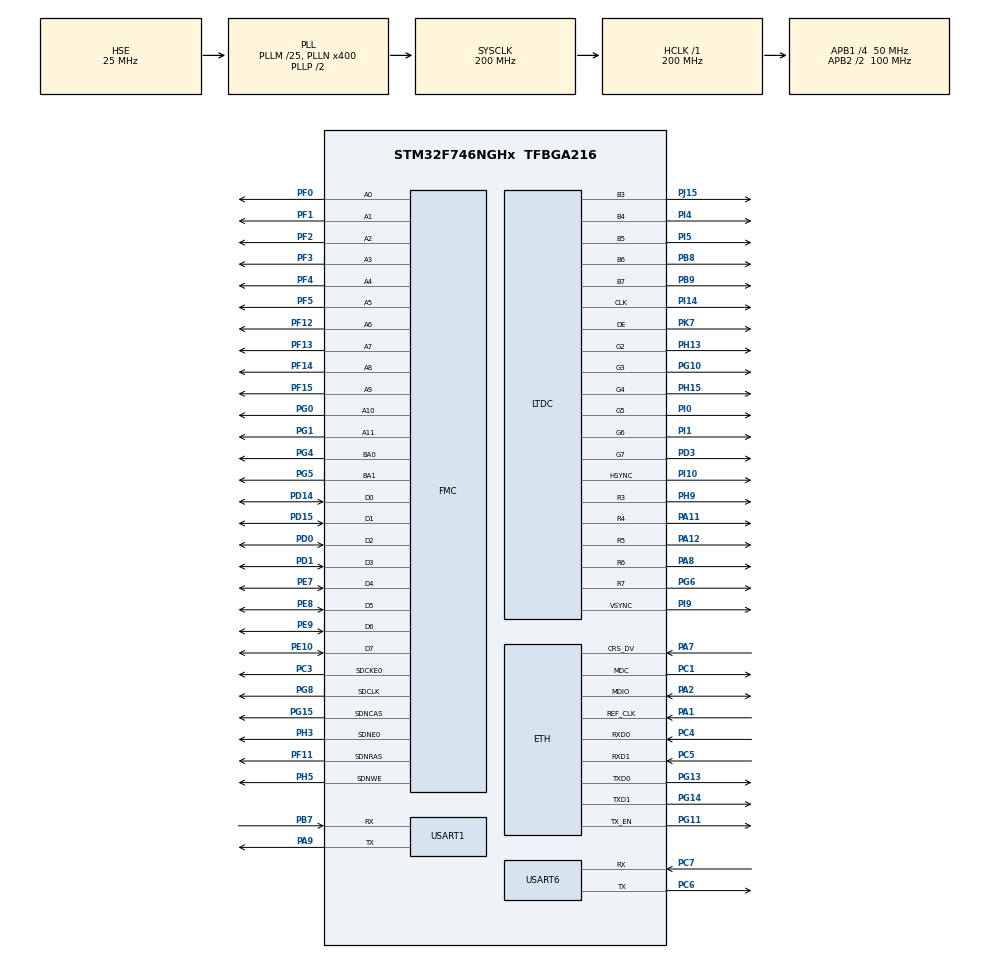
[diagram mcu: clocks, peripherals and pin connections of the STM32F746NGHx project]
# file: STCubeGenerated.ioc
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CORTEX_M7.AccessPermission-Cortex_Memory_Protection_Unit_Region0_Settings=MPU_REGION_FULL_ACCESS
CORTEX_M7.AccessPermission-Cortex_Memory_Protection_Unit_Region1_Settings=MPU_REGION_FULL_ACCESS
CORTEX_M7.AccessPermission-Cortex_Memory_Protection_Unit_Region2_Settings=MPU_REGION_FULL_ACCESS
CORTEX_M7.BaseAddress-Cortex_Memory_Protection_Unit_Region0_Settings=0x20000000
CORTEX_M7.BaseAddress-Cortex_Memory_Protection_Unit_Region1_Settings=0x2004C000
CORTEX_M7.BaseAddress-Cortex_Memory_Protection_Unit_Region2_Settings=0xC0000000
CORTEX_M7.CPU_DCache=Enabled
CORTEX_M7.CPU_ICache=Enabled
CORTEX_M7.DisableExec-Cortex_Memory_Protection_Unit_Region0_Settings=MPU_INSTRUCTION_ACCESS_DISABLE
CORTEX_M7.DisableExec-Cortex_Memory_Protection_Unit_Region1_Settings=MPU_INSTRUCTION_ACCESS_DISABLE
CORTEX_M7.DisableExec-Cortex_Memory_Protection_Unit_Region2_Settings=MPU_INSTRUCTION_ACCESS_DISABLE
CORTEX_M7.Enable-Cortex_Memory_Protection_Unit_Region0_Settings=MPU_REGION_ENABLE
CORTEX_M7.Enable-Cortex_Memory_Protection_Unit_Region1_Settings=MPU_REGION_ENABLE
CORTEX_M7.Enable-Cortex_Memory_Protection_Unit_Region2_Settings=MPU_REGION_ENABLE
CORTEX_M7.IsBufferable-Cortex_Memory_Protection_Unit_Region0_Settings=MPU_ACCESS_BUFFERABLE
CORTEX_M7.IsCacheable-Cortex_Memory_Protection_Unit_Region0_Settings=MPU_ACCESS_CACHEABLE
CORTEX_M7.IsShareable-Cortex_Memory_Protection_Unit_Region0_Settings=MPU_ACCESS_NOT_SHAREABLE
CORTEX_M7.MPU_Control=MPU_PRIVILEGED_DEFAULT
CORTEX_M7.Size-Cortex_Memory_Protection_Unit_Region0_Settings=MPU_REGION_SIZE_512KB
CORTEX_M7.Size-Cortex_Memory_Protection_Unit_Region1_Settings=MPU_REGION_SIZE_16KB
CORTEX_M7.Size-Cortex_Memory_Protection_Unit_Region2_Settings=MPU_REGION_SIZE_16MB
CORTEX_M7.TypeExtField-Cortex_Memory_Protection_Unit_Region0_Settings=MPU_TEX_LEVEL1
CORTEX_M7.TypeExtField-Cortex_Memory_Protection_Unit_Region1_Settings=MPU_TEX_LEVEL1
CORTEX_M7.TypeExtField-Cortex_Memory_Protection_Unit_Region2_Settings=MPU_TEX_LEVEL1
ETH.MediaInterface=HAL_ETH_RMII_MODE
Mcu.Family=STM32F7
Mcu.Name=STM32F746NGHx
Mcu.Package=TFBGA216
NVIC.ETH_IRQn=true\:0\:0\:false\:false\:false\:true\:true\:true
NVIC.PriorityGroup=NVIC_PRIORITYGROUP_4
NVIC.TIM6_DAC_IRQn=true\:0\:0\:false\:false\:true\:true\:true\:true
NVIC.USART6_IRQn=true\:0\:0\:false\:false\:true\:true\:true\:true
PA1.Mode=RMII
PA1.Signal=ETH_REF_CLK
PA11.Mode=RGB565
PA11.Signal=LTDC_R4
PA12.Mode=RGB565
PA12.Signal=LTDC_R5
PA2.Mode=RMII
PA2.Signal=ETH_MDIO
PA7.Mode=RMII
PA7.Signal=ETH_CRS_DV
PA8.Mode=RGB565
PA8.Signal=LTDC_R6
PA9.Mode=Asynchronous
PA9.Signal=USART1_TX
PB7.Mode=Asynchronous
PB7.Signal=USART1_RX
PB8.Mode=RGB565
PB8.Signal=LTDC_B6
PB9.Mode=RGB565
PB9.Signal=LTDC_B7
PC1.Mode=RMII
PC1.Signal=ETH_MDC
PC3.Mode=SdramChipSelect1_1
PC3.Signal=FMC_SDCKE0
PC4.Mode=RMII
PC4.Signal=ETH_RXD0
PC5.Mode=RMII
PC5.Signal=ETH_RXD1
PC6.Mode=Asynchronous
PC6.Signal=USART6_TX
PC7.Mode=Asynchronous
PC7.Signal=USART6_RX
PD0.Signal=FMC_D2_DA2
PD1.Signal=FMC_D3_DA3
PD10.Signal=FMC_D15_DA15
PD11.Signal=FMC_A16_CLE
PD14.Signal=FMC_D0_DA0
PD15.Signal=FMC_D1_DA1
PD3.Mode=RGB565
PD3.Signal=LTDC_G7
PD8.Signal=FMC_D13_DA13
PD9.Signal=FMC_D14_DA14
PE0.Signal=FMC_NBL0
PE1.Signal=FMC_NBL1
PE10.Signal=FMC_D7_DA7
PE11.Signal=FMC_D8_DA8
PE12.Signal=FMC_D9_DA9
PE13.Signal=FMC_D10_DA10
PE14.Signal=FMC_D11_DA11
PE15.Signal=FMC_D12_DA12
PE7.Signal=FMC_D4_DA4
PE8.Signal=FMC_D5_DA5
PE9.Signal=FMC_D6_DA6
PF0.Signal=FMC_A0
PF1.Signal=FMC_A1
PF11.Signal=FMC_SDNRAS
PF12.Signal=FMC_A6
PF13.Signal=FMC_A7
PF14.Signal=FMC_A8
PF15.Signal=FMC_A9
PF2.Signal=FMC_A2
PF3.Signal=FMC_A3
PF4.Signal=FMC_A4
PF5.Signal=FMC_A5
PG0.Signal=FMC_A10
PG1.Signal=FMC_A11
PG10.Mode=RGB565
PG10.Signal=LTDC_G3
PG11.Mode=RMII
PG11.Signal=ETH_TX_EN
PG13.Mode=RMII
PG13.Signal=ETH_TXD0
PG14.Mode=RMII
PG14.Signal=ETH_TXD1
PG15.Signal=FMC_SDNCAS
PG4.Signal=FMC_A14_BA0
PG5.Signal=FMC_A15_BA1
PG6.Mode=RGB565
PG6.Signal=LTDC_R7
PG8.Signal=FMC_SDCLK
PH0/OSC_IN.Mode=HSE-External-Oscillator
PH0/OSC_IN.Signal=RCC_OSC_IN
PH1/OSC_OUT.Mode=HSE-External-Oscillator
PH1/OSC_OUT.Signal=RCC_OSC_OUT
PH13.Mode=RGB565
PH13.Signal=LTDC_G2
PH15.Mode=RGB565
PH15.Signal=LTDC_G4
PH3.Mode=SdramChipSelect1_1
PH3.Signal=FMC_SDNE0
PH5.Signal=FMC_SDNWE
PH9.Mode=RGB565
PH9.Signal=LTDC_R3
PI0.Mode=RGB565
PI0.Signal=LTDC_G5
PI1.Mode=RGB565
PI1.Signal=LTDC_G6
PI10.Mode=RGB565
PI10.Signal=LTDC_HSYNC
PI14.Mode=RGB565
PI14.Signal=LTDC_CLK
PI4.Mode=RGB565
PI4.Signal=LTDC_B4
PI5.Mode=RGB565
PI5.Signal=LTDC_B5
PI9.Mode=RGB565
PI9.Signal=LTDC_VSYNC
PJ15.Mode=RGB565
PJ15.Signal=LTDC_B3
PK7.Mode=RGB565
PK7.Signal=LTDC_DE
ProjectManager.HeapSize=0x200
ProjectManager.StackSize=0x400
ProjectManager.TargetToolchain=MDK-ARM V5
RCC.AHBFreq_Value=200000000
RCC.APB1CLKDivider=RCC_HCLK_DIV4
RCC.APB1Freq_Value=50000000
RCC.APB1TimFreq_Value=100000000
RCC.APB2CLKDivider=RCC_HCLK_DIV2
RCC.APB2Freq_Value=100000000
RCC.APB2TimFreq_Value=200000000
RCC.CortexFreq_Value=200000000
RCC.HCLKFreq_Value=200000000
RCC.HSE_VALUE=25000000
RCC.HSI_VALUE=16000000
RCC.LSE_VALUE=32768
RCC.PLLM=25
RCC.PLLN=400
RCC.PLLSAIRDiv=RCC_PLLSAIDIVR_4
RCC.PLLSourceVirtual=RCC_PLLSOURCE_HSE
RCC.SYSCLKFreq_VALUE=200000000
RCC.SYSCLKSource=RCC_SYSCLKSOURCE_PLLCLK
RCC.USBFreq_Value=200000000
RCC.VCOOutputFreq_Value=400000000
SH.FMC_A0.0=FMC_A0,12b-sda1
SH.FMC_A1.0=FMC_A1,12b-sda1
SH.FMC_A10.0=FMC_A10,12b-sda1
SH.FMC_A11.0=FMC_A11,12b-sda1
SH.FMC_A14_BA0.0=FMC_BA0,FourSdramBanks1
SH.FMC_A15_BA1.0=FMC_BA1,FourSdramBanks1
SH.FMC_A16_CLE.0=FMC_A16
SH.FMC_A2.0=FMC_A2,12b-sda1
SH.FMC_A3.0=FMC_A3,12b-sda1
SH.FMC_A4.0=FMC_A4,12b-sda1
SH.FMC_A5.0=FMC_A5,12b-sda1
SH.FMC_A6.0=FMC_A6,12b-sda1
SH.FMC_A7.0=FMC_A7,12b-sda1
SH.FMC_A8.0=FMC_A8,12b-sda1
SH.FMC_A9.0=FMC_A9,12b-sda1
SH.FMC_D0_DA0.0=FMC_D0,sd-8b-d1
SH.FMC_D10_DA10.0=FMC_D10
SH.FMC_D11_DA11.0=FMC_D11
SH.FMC_D12_DA12.0=FMC_D12
SH.FMC_D13_DA13.0=FMC_D13
SH.FMC_D14_DA14.0=FMC_D14
SH.FMC_D15_DA15.0=FMC_D15
SH.FMC_D1_DA1.0=FMC_D1,sd-8b-d1
SH.FMC_D2_DA2.0=FMC_D2,sd-8b-d1
SH.FMC_D3_DA3.0=FMC_D3,sd-8b-d1
SH.FMC_D4_DA4.0=FMC_D4,sd-8b-d1
SH.FMC_D5_DA5.0=FMC_D5,sd-8b-d1
SH.FMC_D6_DA6.0=FMC_D6,sd-8b-d1
SH.FMC_D7_DA7.0=FMC_D7,sd-8b-d1
SH.FMC_D8_DA8.0=FMC_D8
SH.FMC_D9_DA9.0=FMC_D9
SH.FMC_NBL0.0=FMC_NBL0
SH.FMC_NBL1.0=FMC_NBL1
SH.FMC_SDCLK.0=FMC_SDCLK,12b-sda1
SH.FMC_SDNCAS.0=FMC_SDNCAS,12b-sda1
SH.FMC_SDNRAS.0=FMC_SDNRAS,12b-sda1
SH.FMC_SDNWE.0=FMC_SDNWE,12b-sda1
TIM6.Period=10000
TIM6.Prescaler=49999
USART1.VirtualMode-Asynchronous=VM_ASYNC
USART6.OverrunDisableParam=ADVFEATURE_OVERRUN_DISABLE
USART6.VirtualMode-Asynchronous=VM_ASYNC
VP_DMA2D_VS_DMA2D.Mode=DMA2D_Activate
VP_TIM6_VS_ClockSourceINT.Mode=Enable_Timer
board=STCubeGenerated

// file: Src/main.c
/* USER CODE BEGIN Header */
/**
  ******************************************************************************
  * @file           : main.c
  * @brief          : Main program body
  ******************************************************************************
  * @attention
  *
  * <h2><center>&copy; Copyright (c) 2019 STMicroelectronics.
  * All rights reserved.</center></h2>
  *
  * This software component is licensed by ST under BSD 3-Clause license,
  * the "License"; You may not use this file except in compliance with the
  * License. You may obtain a copy of the License at:
  *                        opensource.org/licenses/BSD-3-Clause
  *
  ******************************************************************************
  */
/* USER CODE END Header */
#include "main.h"
#include "string.h"
#include "../../../../../settings.h"

#if defined ( __ICCARM__ ) /*!< IAR Compiler */
#pragma location=0x2004c000
ETH_DMADescTypeDef  DMARxDscrTab[ETH_RX_DESC_CNT]; /* Ethernet Rx DMA Descriptors */
#pragma location=0x2004c0a0
ETH_DMADescTypeDef  DMATxDscrTab[ETH_TX_DESC_CNT]; /* Ethernet Tx DMA Descriptors */

#elif defined ( __CC_ARM )  /* MDK ARM Compiler */

__attribute__((at(0x2004c000))) ETH_DMADescTypeDef  DMARxDscrTab[ETH_RX_DESC_CNT]; /* Ethernet Rx DMA Descriptors */
__attribute__((at(0x2004c0a0))) ETH_DMADescTypeDef  DMATxDscrTab[ETH_TX_DESC_CNT]; /* Ethernet Tx DMA Descriptors */

#elif defined ( __GNUC__ ) /* GNU Compiler */

ETH_DMADescTypeDef DMARxDscrTab[ETH_RX_DESC_CNT] __attribute__((section(".RxDecripSection"))); /* Ethernet Rx DMA Descriptors */
ETH_DMADescTypeDef DMATxDscrTab[ETH_TX_DESC_CNT] __attribute__((section(".TxDecripSection")));   /* Ethernet Tx DMA Descriptors */
#endif

ETH_TxPacketConfig TxConfig;

DMA2D_HandleTypeDef hdma2d;

ETH_HandleTypeDef heth;

LTDC_HandleTypeDef hltdc;

TIM_HandleTypeDef htim6;

UART_HandleTypeDef huart1;
UART_HandleTypeDef huart6;

SDRAM_HandleTypeDef hsdram1;

/* USER CODE BEGIN PV */
/* Private variables ---------------------------------------------------------*/
uint8_t timerPeriodIsElapsed = 0;
/* USER CODE END PV */

void SystemClock_Config(void);
static void MPU_Config(void);
static void MX_GPIO_Init(void);
static void MX_FMC_Init(void);
static void MX_USART1_UART_Init(void);
static void MX_DMA2D_Init(void);
static void MX_TIM6_Init(void);
static void MX_USART6_UART_Init(void);
/* USER CODE BEGIN PFP */
/* Private function prototypes -----------------------------------------------*/
extern void BSP_SDRAM_Init(void);
/* USER CODE END PFP */

/* USER CODE BEGIN 0 */
/**
  * Override default HAL_GetTick function
  */
uint32_t HAL_GetTick (void) {
  static uint32_t ticks = 0U;
         uint32_t i;

  if (osKernelGetState () == osKernelRunning) {
    return ((uint32_t)osKernelGetTickCount ());
  }

  /* If Kernel is not running wait approximately 1 ms then increment
     and return auxiliary tick counter value */
  for (i = (SystemCoreClock >> 14U); i > 0U; i--) {
    __NOP(); __NOP(); __NOP(); __NOP(); __NOP(); __NOP();
    __NOP(); __NOP(); __NOP(); __NOP(); __NOP(); __NOP();
  }
  return ++ticks;
}

/**
  * Override default HAL_InitTick function
  */
HAL_StatusTypeDef HAL_InitTick(uint32_t TickPriority) {

  UNUSED(TickPriority);

  return HAL_OK;
}
/* USER CODE END 0 */

int main(void)
{

  /* MPU Configuration--------------------------------------------------------*/
  MPU_Config();

  /* Enable the CPU Cache */

  /* Enable I-Cache---------------------------------------------------------*/
  SCB_EnableICache();

  /* Enable D-Cache---------------------------------------------------------*/
  SCB_EnableDCache();

  /* MCU Configuration--------------------------------------------------------*/

  /* Reset of all peripherals, Initializes the Flash interface and the Systick. */
  HAL_Init();

  /* USER CODE BEGIN Init */
  BSP_SDRAM_Init();                           /* Initialize BSP SDRAM           */
  /* USER CODE END Init */

  /* Configure the system clock */
  SystemClock_Config();

  /* USER CODE BEGIN SysInit */
  SystemCoreClockUpdate();
  /* USER CODE END SysInit */

  /* Initialize all configured peripherals */
  MX_GPIO_Init();
  MX_USART1_UART_Init();
  MX_DMA2D_Init();
  MX_TIM6_Init();
  MX_USART6_UART_Init();
  /* USER CODE BEGIN 2 */

  /* Initialize CMSIS-RTOS2 */
  osKernelInitialize ();

  /* Create application main thread */
  osThreadNew(app_main, NULL, &app_main_attr);

  /* Start thread execution */
  osKernelStart();

  /* USER CODE END 2 */

  /* Infinite loop */
  /* USER CODE BEGIN WHILE */

	// DO NOT PLACE CODE HERE!!! This place is unreachable because threading is being used.
	// Place your code in the "app_main" function in Thread.c

  while (1)
  {

    /* USER CODE END WHILE */

  }
}

void SystemClock_Config(void)
{
  RCC_OscInitTypeDef RCC_OscInitStruct = {0};
  RCC_ClkInitTypeDef RCC_ClkInitStruct = {0};

  /** Configure the main internal regulator output voltage
  */
  __HAL_RCC_PWR_CLK_ENABLE();
  __HAL_PWR_VOLTAGESCALING_CONFIG(PWR_REGULATOR_VOLTAGE_SCALE1);

  /** Initializes the RCC Oscillators according to the specified parameters
  * in the RCC_OscInitTypeDef structure.
  */
  RCC_OscInitStruct.OscillatorType = RCC_OSCILLATORTYPE_HSE;
  RCC_OscInitStruct.HSEState = RCC_HSE_ON;
  RCC_OscInitStruct.PLL.PLLState = RCC_PLL_ON;
  RCC_OscInitStruct.PLL.PLLSource = RCC_PLLSOURCE_HSE;
  RCC_OscInitStruct.PLL.PLLM = 25;
  RCC_OscInitStruct.PLL.PLLN = 400;
  RCC_OscInitStruct.PLL.PLLP = RCC_PLLP_DIV2;
  RCC_OscInitStruct.PLL.PLLQ = 2;
  if (HAL_RCC_OscConfig(&RCC_OscInitStruct) != HAL_OK)
  {
    Error_Handler();
  }

  /** Activate the Over-Drive mode
  */
  if (HAL_PWREx_EnableOverDrive() != HAL_OK)
  {
    Error_Handler();
  }

  /** Initializes the CPU, AHB and APB buses clocks
  */
  RCC_ClkInitStruct.ClockType = RCC_CLOCKTYPE_HCLK|RCC_CLOCKTYPE_SYSCLK
                              |RCC_CLOCKTYPE_PCLK1|RCC_CLOCKTYPE_PCLK2;
  RCC_ClkInitStruct.SYSCLKSource = RCC_SYSCLKSOURCE_PLLCLK;
  RCC_ClkInitStruct.AHBCLKDivider = RCC_SYSCLK_DIV1;
  RCC_ClkInitStruct.APB1CLKDivider = RCC_HCLK_DIV4;
  RCC_ClkInitStruct.APB2CLKDivider = RCC_HCLK_DIV2;

  if (HAL_RCC_ClockConfig(&RCC_ClkInitStruct, FLASH_LATENCY_6) != HAL_OK)
  {
    Error_Handler();
  }
}

static void MX_DMA2D_Init(void)
{

  hdma2d.Instance = DMA2D;
  hdma2d.Init.Mode = DMA2D_M2M;
  hdma2d.Init.ColorMode = DMA2D_OUTPUT_ARGB8888;
  hdma2d.Init.OutputOffset = 0;
  hdma2d.LayerCfg[1].InputOffset = 0;
  hdma2d.LayerCfg[1].InputColorMode = DMA2D_INPUT_ARGB8888;
  hdma2d.LayerCfg[1].AlphaMode = DMA2D_NO_MODIF_ALPHA;
  hdma2d.LayerCfg[1].InputAlpha = 0;
  if (HAL_DMA2D_Init(&hdma2d) != HAL_OK)
  {
    Error_Handler();
  }
  if (HAL_DMA2D_ConfigLayer(&hdma2d, 1) != HAL_OK)
  {
    Error_Handler();
  }

}

void MX_ETH_Init(void)
{

   static uint8_t MACAddr[6];

  heth.Instance = ETH;
  MACAddr[0] = 0x00;
  MACAddr[1] = 0x80;
  MACAddr[2] = 0xE1;
  MACAddr[3] = 0x00;
  MACAddr[4] = 0x00;
  MACAddr[5] = 0x00;
  heth.Init.MACAddr = &MACAddr[0];
  heth.Init.MediaInterface = HAL_ETH_RMII_MODE;
  heth.Init.TxDesc = DMATxDscrTab;
  heth.Init.RxDesc = DMARxDscrTab;
  heth.Init.RxBuffLen = 1524;

  if (HAL_ETH_Init(&heth) != HAL_OK)
  {
    Error_Handler();
  }

  memset(&TxConfig, 0 , sizeof(ETH_TxPacketConfig));
  TxConfig.Attributes = ETH_TX_PACKETS_FEATURES_CSUM | ETH_TX_PACKETS_FEATURES_CRCPAD;
  TxConfig.ChecksumCtrl = ETH_CHECKSUM_IPHDR_PAYLOAD_INSERT_PHDR_CALC;
  TxConfig.CRCPadCtrl = ETH_CRC_PAD_INSERT;

}

void MX_LTDC_Init(void)
{

  LTDC_LayerCfgTypeDef pLayerCfg = {0};
  LTDC_LayerCfgTypeDef pLayerCfg1 = {0};

  hltdc.Instance = LTDC;
  hltdc.Init.HSPolarity = LTDC_HSPOLARITY_AL;
  hltdc.Init.VSPolarity = LTDC_VSPOLARITY_AL;
  hltdc.Init.DEPolarity = LTDC_DEPOLARITY_AL;
  hltdc.Init.PCPolarity = LTDC_PCPOLARITY_IPC;
  hltdc.Init.HorizontalSync = 7;
  hltdc.Init.VerticalSync = 3;
  hltdc.Init.AccumulatedHBP = 14;
  hltdc.Init.AccumulatedVBP = 5;
  hltdc.Init.AccumulatedActiveW = 654;
  hltdc.Init.AccumulatedActiveH = 485;
  hltdc.Init.TotalWidth = 660;
  hltdc.Init.TotalHeigh = 487;
  hltdc.Init.Backcolor.Blue = 0;
  hltdc.Init.Backcolor.Green = 0;
  hltdc.Init.Backcolor.Red = 0;
  if (HAL_LTDC_Init(&hltdc) != HAL_OK)
  {
    Error_Handler();
  }
  pLayerCfg.WindowX0 = 0;
  pLayerCfg.WindowX1 = 0;
  pLayerCfg.WindowY0 = 0;
  pLayerCfg.WindowY1 = 0;
  pLayerCfg.PixelFormat = LTDC_PIXEL_FORMAT_ARGB8888;
  pLayerCfg.Alpha = 0;
  pLayerCfg.Alpha0 = 0;
  pLayerCfg.BlendingFactor1 = LTDC_BLENDING_FACTOR1_CA;
  pLayerCfg.BlendingFactor2 = LTDC_BLENDING_FACTOR2_CA;
  pLayerCfg.FBStartAdress = 0;
  pLayerCfg.ImageWidth = 0;
  pLayerCfg.ImageHeight = 0;
  pLayerCfg.Backcolor.Blue = 0;
  pLayerCfg.Backcolor.Green = 0;
  pLayerCfg.Backcolor.Red = 0;
  if (HAL_LTDC_ConfigLayer(&hltdc, &pLayerCfg, 0) != HAL_OK)
  {
    Error_Handler();
  }
  pLayerCfg1.WindowX0 = 0;
  pLayerCfg1.WindowX1 = 0;
  pLayerCfg1.WindowY0 = 0;
  pLayerCfg1.WindowY1 = 0;
  pLayerCfg1.PixelFormat = LTDC_PIXEL_FORMAT_ARGB8888;
  pLayerCfg1.Alpha = 0;
  pLayerCfg1.Alpha0 = 0;
  pLayerCfg1.BlendingFactor1 = LTDC_BLENDING_FACTOR1_CA;
  pLayerCfg1.BlendingFactor2 = LTDC_BLENDING_FACTOR2_CA;
  pLayerCfg1.FBStartAdress = 0;
  pLayerCfg1.ImageWidth = 0;
  pLayerCfg1.ImageHeight = 0;
  pLayerCfg1.Backcolor.Blue = 0;
  pLayerCfg1.Backcolor.Green = 0;
  pLayerCfg1.Backcolor.Red = 0;
  if (HAL_LTDC_ConfigLayer(&hltdc, &pLayerCfg1, 1) != HAL_OK)
  {
    Error_Handler();
  }

}

static void MX_TIM6_Init(void)
{

  TIM_MasterConfigTypeDef sMasterConfig = {0};

  htim6.Instance = TIM6;
  htim6.Init.Prescaler = 49999;
  htim6.Init.CounterMode = TIM_COUNTERMODE_UP;
  htim6.Init.Period = 10000;
  htim6.Init.AutoReloadPreload = TIM_AUTORELOAD_PRELOAD_DISABLE;
  if (HAL_TIM_Base_Init(&htim6) != HAL_OK)
  {
    Error_Handler();
  }
  sMasterConfig.MasterOutputTrigger = TIM_TRGO_RESET;
  sMasterConfig.MasterSlaveMode = TIM_MASTERSLAVEMODE_DISABLE;
  if (HAL_TIMEx_MasterConfigSynchronization(&htim6, &sMasterConfig) != HAL_OK)
  {
    Error_Handler();
  }

}

static void MX_USART1_UART_Init(void)
{

  huart1.Instance = USART1;
  huart1.Init.BaudRate = 115200;
  huart1.Init.WordLength = UART_WORDLENGTH_8B;
  huart1.Init.StopBits = UART_STOPBITS_1;
  huart1.Init.Parity = UART_PARITY_NONE;
  huart1.Init.Mode = UART_MODE_TX_RX;
  huart1.Init.HwFlowCtl = UART_HWCONTROL_NONE;
  huart1.Init.OverSampling = UART_OVERSAMPLING_16;
  huart1.Init.OneBitSampling = UART_ONE_BIT_SAMPLE_DISABLE;
  huart1.AdvancedInit.AdvFeatureInit = UART_ADVFEATURE_NO_INIT;
  if (HAL_UART_Init(&huart1) != HAL_OK)
  {
    Error_Handler();
  }

}

static void MX_USART6_UART_Init(void)
{

  huart6.Instance = USART6;
  huart6.Init.BaudRate = 115200;
  huart6.Init.WordLength = UART_WORDLENGTH_8B;
  huart6.Init.StopBits = UART_STOPBITS_1;
  huart6.Init.Parity = UART_PARITY_NONE;
  huart6.Init.Mode = UART_MODE_TX_RX;
  huart6.Init.HwFlowCtl = UART_HWCONTROL_NONE;
  huart6.Init.OverSampling = UART_OVERSAMPLING_16;
  huart6.Init.OneBitSampling = UART_ONE_BIT_SAMPLE_DISABLE;
  huart6.AdvancedInit.AdvFeatureInit = UART_ADVFEATURE_RXOVERRUNDISABLE_INIT;
  huart6.AdvancedInit.OverrunDisable = UART_ADVFEATURE_OVERRUN_DISABLE;
  if (HAL_UART_Init(&huart6) != HAL_OK)
  {
    Error_Handler();
  }

}

/* FMC initialization function */
static void MX_FMC_Init(void)
{

  FMC_SDRAM_TimingTypeDef SdramTiming = {0};

  /** Perform the SDRAM1 memory initialization sequence
  */
  hsdram1.Instance = FMC_SDRAM_DEVICE;
  /* hsdram1.Init */
  hsdram1.Init.SDBank = FMC_SDRAM_BANK1;
  hsdram1.Init.ColumnBitsNumber = FMC_SDRAM_COLUMN_BITS_NUM_8;
  hsdram1.Init.RowBitsNumber = FMC_SDRAM_ROW_BITS_NUM_12;
  hsdram1.Init.MemoryDataWidth = FMC_SDRAM_MEM_BUS_WIDTH_8;
  hsdram1.Init.InternalBankNumber = FMC_SDRAM_INTERN_BANKS_NUM_4;
  hsdram1.Init.CASLatency = FMC_SDRAM_CAS_LATENCY_1;
  hsdram1.Init.WriteProtection = FMC_SDRAM_WRITE_PROTECTION_DISABLE;
  hsdram1.Init.SDClockPeriod = FMC_SDRAM_CLOCK_DISABLE;
  hsdram1.Init.ReadBurst = FMC_SDRAM_RBURST_DISABLE;
  hsdram1.Init.ReadPipeDelay = FMC_SDRAM_RPIPE_DELAY_0;
  /* SdramTiming */
  SdramTiming.LoadToActiveDelay = 16;
  SdramTiming.ExitSelfRefreshDelay = 16;
  SdramTiming.SelfRefreshTime = 16;
  SdramTiming.RowCycleDelay = 16;
  SdramTiming.WriteRecoveryTime = 16;
  SdramTiming.RPDelay = 16;
  SdramTiming.RCDDelay = 16;

  if (HAL_SDRAM_Init(&hsdram1, &SdramTiming) != HAL_OK)
  {
    Error_Handler( );
  }

}

static void MX_GPIO_Init(void)
{

  /* GPIO Ports Clock Enable */
  __HAL_RCC_GPIOG_CLK_ENABLE();
  __HAL_RCC_GPIOE_CLK_ENABLE();
  __HAL_RCC_GPIOB_CLK_ENABLE();
  __HAL_RCC_GPIOD_CLK_ENABLE();
  __HAL_RCC_GPIOA_CLK_ENABLE();
  __HAL_RCC_GPIOI_CLK_ENABLE();
  __HAL_RCC_GPIOK_CLK_ENABLE();
  __HAL_RCC_GPIOF_CLK_ENABLE();
  __HAL_RCC_GPIOJ_CLK_ENABLE();
  __HAL_RCC_GPIOH_CLK_ENABLE();
  __HAL_RCC_GPIOC_CLK_ENABLE();

}

/* USER CODE BEGIN 4 */
#ifdef TIMER6
void HAL_TIM_PeriodElapsedCallback(TIM_HandleTypeDef *htim)
{
	// every 5 seconds, this callback will be executed for timer 6
	// settings: PSC = 49999 and reload value = 10000
	// period (s) = (PSC + 1)/clock frequency * period steps = (49999 + 1)/100000000 Hz * 10000 steps = 5 seconds
    if (htim->Instance == TIM6)
    {
        timerPeriodIsElapsed = 1;
    }
}
#endif
/* USER CODE END 4 */

 /* MPU Configuration */

void MPU_Config(void)
{
  MPU_Region_InitTypeDef MPU_InitStruct = {0};

  /* Disables the MPU */
  HAL_MPU_Disable();

  /** Initializes and configures the Region and the memory to be protected
  */
  MPU_InitStruct.Enable = MPU_REGION_ENABLE;
  MPU_InitStruct.Number = MPU_REGION_NUMBER0;
  MPU_InitStruct.BaseAddress = 0x20000000;
  MPU_InitStruct.Size = MPU_REGION_SIZE_512KB;
  MPU_InitStruct.SubRegionDisable = 0x0;
  MPU_InitStruct.TypeExtField = MPU_TEX_LEVEL1;
  MPU_InitStruct.AccessPermission = MPU_REGION_FULL_ACCESS;
  MPU_InitStruct.DisableExec = MPU_INSTRUCTION_ACCESS_DISABLE;
  MPU_InitStruct.IsShareable = MPU_ACCESS_NOT_SHAREABLE;
  MPU_InitStruct.IsCacheable = MPU_ACCESS_CACHEABLE;
  MPU_InitStruct.IsBufferable = MPU_ACCESS_BUFFERABLE;

  HAL_MPU_ConfigRegion(&MPU_InitStruct);

  /** Initializes and configures the Region and the memory to be protected
  */
  MPU_InitStruct.Number = MPU_REGION_NUMBER1;
  MPU_InitStruct.BaseAddress = 0x2004C000;
  MPU_InitStruct.Size = MPU_REGION_SIZE_16KB;
  MPU_InitStruct.IsCacheable = MPU_ACCESS_NOT_CACHEABLE;
  MPU_InitStruct.IsBufferable = MPU_ACCESS_NOT_BUFFERABLE;

  HAL_MPU_ConfigRegion(&MPU_InitStruct);

  /** Initializes and configures the Region and the memory to be protected
  */
  MPU_InitStruct.Number = MPU_REGION_NUMBER2;
  MPU_InitStruct.BaseAddress = 0xC0000000;
  MPU_InitStruct.Size = MPU_REGION_SIZE_16MB;

  HAL_MPU_ConfigRegion(&MPU_InitStruct);
  /* Enables the MPU */
  HAL_MPU_Enable(MPU_PRIVILEGED_DEFAULT);

}

void Error_Handler(void)
{
  while(1)
  {
  }
}
